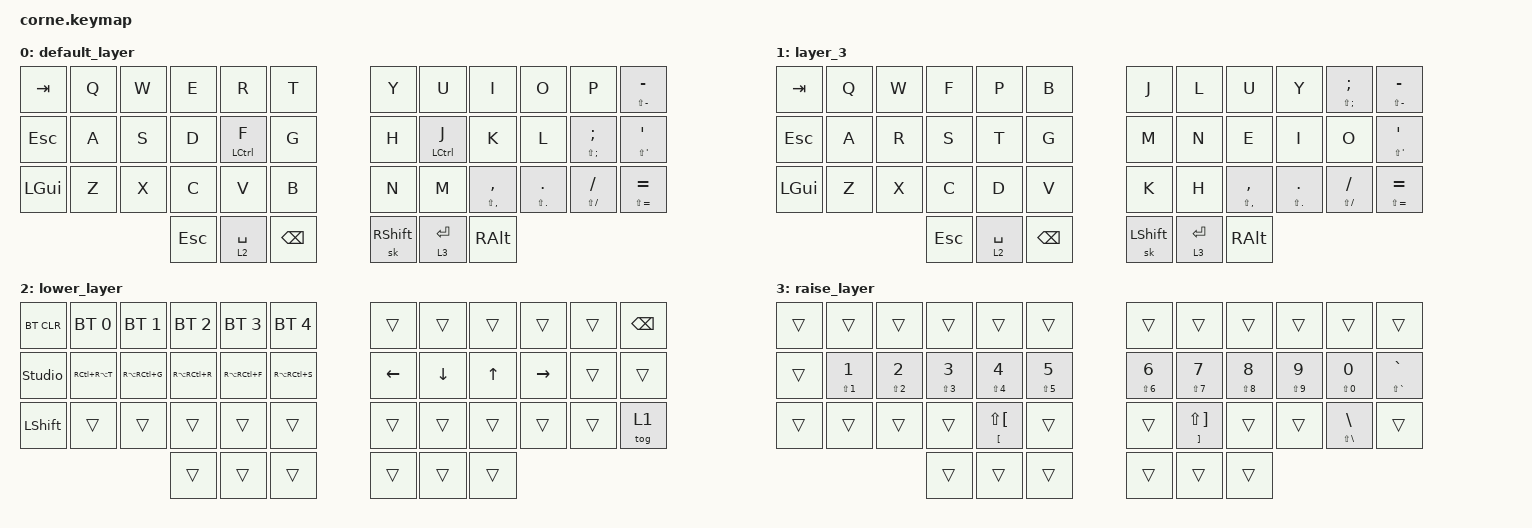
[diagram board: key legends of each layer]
/*
 * Copyright (c) 2020 The ZMK Contributors
 *
 * SPDX-License-Identifier: MIT
 */

#include <behaviors.dtsi>
#include <dt-bindings/zmk/bt.h>
#include <dt-bindings/zmk/keys.h>

/ {
    behaviors {
        hm_rick: hmrick {
            compatible = "zmk,behavior-hold-tap";
            label = "HMRICK";
            bindings = <&kp>, <&kp>;

            #binding-cells = <2>;
            flavor = "tap-preferred";
            tapping-term-ms = <175>; // triggers the hold behavior when the tapping-term-ms has expired
            quick-tap-ms = <150>; // If you press a tapped hold-tap again within quick-tap-ms milliseconds of the first press, it will always trigger the tap behavior.
            require-prior-idle-ms = <185>; // like quick-tap-ms however it will apply for any non-modifier key pressed before it
        };

        as: auto_shift {
            compatible = "zmk,behavior-hold-tap";
            label = "AUTO_SHIFT";
            #binding-cells = <2>;
            tapping_term_ms = <350>;
            quick_tap_ms = <0>;
            flavor = "tap-preferred";
            bindings = <&kp>, <&kp>;
        };
    };

    keymap {
        compatible = "zmk,keymap";

        default_layer {
            // -----------------------------------------------------------------------------------------
            // |  TAB |  Q  |  W  |  E  |  R  |  T  |   |  Y  |  U   |  I  |  O  |  P  | BSPC |
            // | CTRL |  A  |  S  |  D  |  F  |  G  |   |  H  |  J   |  K  |  L  |  ;  |  '   |
            // | SHFT |  Z  |  X  |  C  |  V  |  B  |   |  N  |  M   |  ,  |  .  |  /  | ESC  |
            //                    | GUI | LWR | SPC |   | ENT | RSE  | ALT |

            bindings = <
&kp TAB       &kp Q  &kp W  &kp E       &kp R                    &kp T            &kp Y            &kp U                    &kp I                &kp O               &kp P              &as LS(MINUS) MINUS
&kp ESCAPE    &kp A  &kp S  &kp D       &hm_rick LEFT_CONTROL F  &kp G            &kp H            &hm_rick LEFT_CONTROL J  &kp K                &kp L               &as LS(SEMI) SEMI  &as LS(SQT) APOS
&kp LEFT_GUI  &kp Z  &kp X  &kp C       &kp V                    &kp B            &kp N            &kp M                    &as LS(COMMA) COMMA  &as LS(DOT) PERIOD  &as LS(FSLH) FSLH  &as LS(EQUAL) EQUAL
                            &kp ESCAPE  &lt 2 SPACE              &kp BACKSPACE    &sk RIGHT_SHIFT  &lt 3 ENTER              &kp RALT
            >;
        };

        layer_3 {
            bindings = <
&kp TAB   &kp Q  &kp W  &kp F    &kp P        &kp B            &kp J           &kp L        &kp U                &kp Y               &as LS(SEMI) SEMI  &as LS(MINUS) MINUS
&kp ESC   &kp A  &kp R  &kp S    &kp T        &kp G            &kp M           &kp N        &kp E                &kp I               &kp O              &as LS(APOS) APOS
&kp LGUI  &kp Z  &kp X  &kp C    &kp D        &kp V            &kp K           &kp H        &as LS(COMMA) COMMA  &as LS(DOT) PERIOD  &as LS(FSLH) FSLH  &as LS(EQUAL) EQUAL
                        &kp ESC  &lt 2 SPACE  &kp BACKSPACE    &sk LEFT_SHIFT  &lt 3 ENTER  &kp RIGHT_ALT
            >;
        };

        lower_layer {
            // -----------------------------------------------------------------------------------------
            // |  TAB |  1  |  2  |  3  |  4  |  5  |   |  6  |  7  |  8  |  9  |  0  | BSPC |
            // | BTCLR| BT1 | BT2 | BT3 | BT4 | BT5 |   | LFT | DWN |  UP | RGT |     |      |
            // | SHFT |     |     |     |     |     |   |     |     |     |     |     |      |
            //                    | GUI |     | SPC |   | ENT |     | ALT |

            bindings = <
&bt BT_CLR      &bt BT_SEL 0   &bt BT_SEL 1   &bt BT_SEL 2   &bt BT_SEL 3   &bt BT_SEL 4     &trans    &trans    &trans  &trans     &trans  &kp BSPC
&studio_unlock  &kp RC(RA(T))  &kp RA(RC(G))  &kp RA(RC(R))  &kp RA(RC(F))  &kp RA(RC(S))    &kp LEFT  &kp DOWN  &kp UP  &kp RIGHT  &trans  &trans
&kp LSHFT       &trans         &trans         &trans         &trans         &trans           &trans    &trans    &trans  &trans     &trans  &tog 1
                                              &trans         &trans         &trans           &trans    &trans    &trans
            >;
        };

        raise_layer {
            // -----------------------------------------------------------------------------------------
            // |  TAB |  !  |  @  |  #  |  $  |  %  |   |  ^  |  &  |  *  |  (  |  )  | BSPC |
            // | CTRL |     |     |     |     |     |   |  -  |  =  |  [  |  ]  |  \  |  `   |
            // | SHFT |     |     |     |     |     |   |  _  |  +  |  {  |  }  | "|" |  ~   |
            //                    | GUI |     | SPC |   | ENT |     | ALT |

            bindings = <
&trans  &trans               &trans               &trans         &trans             &trans           &trans         &trans             &trans         &trans         &trans             &trans
&trans  &as LS(N1) NUMBER_1  &as LS(N2) NUMBER_2  &as LS(N3) N3  &as LS(N4) N4      &as LS(N5) N5    &as LS(N6) N6  &as LS(N7) N7      &as LS(N8) N8  &as LS(N9) N9  &as LS(N0) N0      &as LS(GRAVE) GRAVE
&trans  &trans               &trans               &trans         &as LBKT LS(LBKT)  &trans           &trans         &as RBKT LS(RBKT)  &trans         &trans         &as LS(BSLH) BSLH  &trans
                                                  &trans         &trans             &trans           &trans         &trans             &trans
            >;
        };
    };
};
